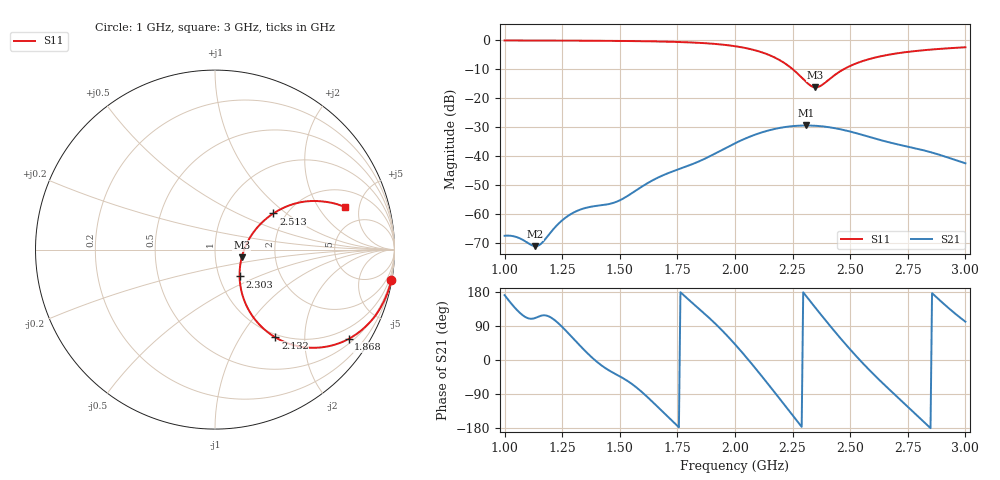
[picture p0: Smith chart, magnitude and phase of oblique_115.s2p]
! TOUCHSTONE file generated by CST MICROWAVE STUDIO
! Date and time: Tue Mar 18 00:02:05 2025
! Project name: oblique.cst
! Parameters = {Tilt=40; Fracture=1; B=10; D=160; F=5; Feed=2.85625; L=100; M=50; R=0.384908; S=1; Theta=90; length=57.125; wave=114.25}
! Header version: 2024
! Port assignment regex: !\s*Touchstone port\s*([0-9]+)\s*=\s*(CST MWS port|CST DES external port|CST DES block port)\s*(.+)\s* \(\"(.*)\"\)(\s*mode\s*([0-9]+))?.*
! Touchstone port assignment:
! Touchstone port 1 = CST MWS port 1 ("")
! Touchstone port 2 = CST MWS port 2 ("")
# GHz S DB R 50
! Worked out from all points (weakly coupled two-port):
!   305 points, 1 GHz to 3 GHz, reference 50 ohm
!   highest |S21| = -29.36 dB at 2.309 GHz (marker M1); lowest = -71.0 dB at 1.132 GHz (marker M2)
!   lowest |S11| = -16.2 dB at 2.349 GHz (marker M3), VSWR 1.37, Z = 67.2 - j5.85 ohm
!   |S11| at or under -10 dB: 2.251 GHz to 2.471 GHz (219.4 MHz wide, 9.29 % of centre)
!   S12 and S22 are empty: the file has one direction only
!   S11 on the Smith chart (normalised r, x): 1 GHz: 0, -12; 1.868 GHz: 0.63, -3.18; 2.132 GHz: 0.95, -1.44; 2.303 GHz: 1.25, -0.39; 2.513 GHz: 1.72, +0.81; 3 GHz: 3.18, +3.57
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1  -0.02 -9.8  -67.40 171.2  -200.00 0.0  -200.00 0.0
1.05263  -0.03 -10.5  -67.86 132.6  -200.00 0.0  -200.00 0.0
1.13158  -0.04 -11.7  -70.98 110.6  -200.00 0.0  -200.00 0.0
1.15789  -0.05 -12.1  -70.15 116.8  -200.00 0.0  -200.00 0.0
1.25658  -0.07 -13.7  -61.63 83.2  -200.00 0.0  -200.00 0.0
1.33553  -0.10 -15.2  -58.16 32.6  -200.00 0.0  -200.00 0.0
1.48684  -0.18 -18.5  -55.63 -38.8  -200.00 0.0  -200.00 0.0
1.67105  -0.38 -24.3  -47.13 -127.6  -200.00 0.0  -200.00 0.0
1.86842  -0.96 -33.8  -40.84 121.9  -200.00 0.0  -200.00 0.0
2  -2.00 -43.5  -35.49 41.5  -200.00 0.0  -200.00 0.0
2.13158  -4.52 -55.5  -31.37 -54.3  -200.00 0.0  -200.00 0.0
2.22368  -8.31 -60.8  -29.81 -125.3  -200.00 0.0  -200.00 0.0
2.30263  -13.86 -47.5  -29.36 173.4  -200.00 0.0  -200.00 0.0
2.30921  -14.36 -44.3  -29.36 168.4  -200.00 0.0  -200.00 0.0
2.33553  -15.93 -26.8  -29.40 148.2  -200.00 0.0  -200.00 0.0
2.34868  -16.20 -15.9  -29.45 138.1  -200.00 0.0  -200.00 0.0
2.375  -15.51 4.3  -29.62 118.2  -200.00 0.0  -200.00 0.0
2.42763  -12.26 25.4  -30.20 79.1  -200.00 0.0  -200.00 0.0
2.51316  -8.34 31.8  -31.72 18.8  -200.00 0.0  -200.00 0.0
2.67105  -4.88 28.0  -35.21 -78.5  -200.00 0.0  -200.00 0.0
2.84868  -3.18 22.2  -38.55 -179.9  -200.00 0.0  -200.00 0.0
3  -2.37 18.1  -42.39 101.2  -200.00 0.0  -200.00 0.0
